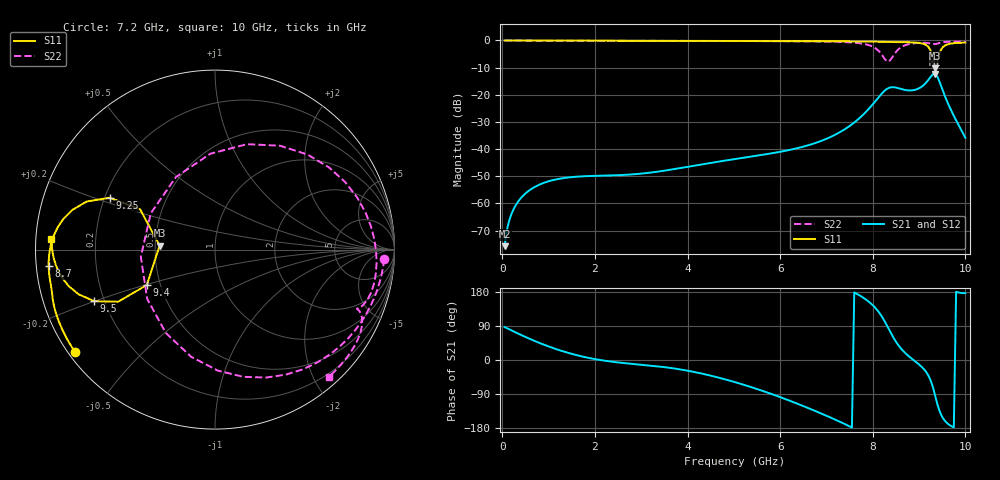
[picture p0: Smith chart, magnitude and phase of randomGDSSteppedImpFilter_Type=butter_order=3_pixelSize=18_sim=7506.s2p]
! freq	dB(S11)	phase(S11)	dB(S12)	phase(S12)
!  dB(S21)	phase(S21)	dB(S22)	phase(S22)
!S-par simulation data
#  GHz  S  DB  R 50
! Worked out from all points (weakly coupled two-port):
!   200 points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, 50 MHz to 10 GHz, reference 50 ohm
!   highest |S21| = -12.33 dB at 9.35 GHz (marker M1); lowest = -75.7 dB at 50 MHz (marker M2)
!   lowest |S11| = -10.2 dB at 9.35 GHz (marker M3), VSWR 1.90, Z = 26.4 + j1.32 ohm
!   |S11| at or under -10 dB: 9.347437 GHz to 9.353364 GHz (5.927 MHz wide, 0.0634 % of centre)
!   |S22| runs from -7.7 to 0.0 dB; largest |S21 - S12| = 0
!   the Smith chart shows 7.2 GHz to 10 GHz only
!   S11 on the Smith chart (normalised r, x): 7.2 GHz: 0.02, -0.33; 8.7 GHz: 0.04, -0.05; 9.25 GHz: 0.22, +0.22; 9.4 GHz: 0.42, -0.20; 9.5 GHz: 0.16, -0.20; 10 GHz: 0.05, +0.03
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0.05  -0.00 -1.1  -75.71 87.0  -75.71 87.0  -0.00 -4.9
0.2  -0.01 -4.5  -63.77 78.0  -63.77 78.0  -0.03 -19.5
0.5  -0.01 -11.2  -56.32 60.8  -56.32 60.8  -0.06 -47.4
1.05  -0.03 -23.5  -51.59 33.5  -51.59 33.5  -0.10 -92.5
1.75  -0.05 -38.8  -49.99 8.6  -49.99 8.6  -0.12 -137.4
2.5  -0.07 -54.7  -49.59 -6.5  -49.59 -6.5  -0.14 -175.0
3.4  -0.09 -73.0  -48.18 -17.3  -48.18 -17.3  -0.15 147.1
5.05  -0.16 -104.6  -43.58 -59.3  -43.58 -59.3  -0.21 83.9
6.7  -0.26 -134.5  -38.09 -131.6  -38.09 -131.6  -0.34 19.4
7.2  -0.30 -143.6  -34.59 -157.9  -34.59 -157.9  -0.49 -3.2
7.7  -0.36 -153.0  -28.79 171.6  -28.79 171.6  -1.00 -33.9
8.05  -0.43 -160.0  -22.49 138.3  -22.49 138.3  -2.78 -77.4
8.2  -0.49 -163.1  -19.45 114.0  -19.45 114.0  -5.36 -120.5
8.35  -0.56 -166.1  -17.44 80.9  -17.44 80.9  -7.72 150.6
8.5  -0.59 -169.2  -17.34 48.4  -17.34 48.4  -4.24 73.2
8.7  -0.62 -174.2  -18.23 18.5  -18.23 18.5  -1.75 27.3
9.05  -1.06 171.9  -17.08 -17.4  -17.08 -17.4  -0.86 -8.5
9.25  -3.69 153.8  -13.39 -53.9  -13.39 -53.9  -1.12 -20.8
9.35  -10.19 175.8  -12.33 -95.4  -12.33 -95.4  -1.35 -22.6
9.4  -7.37 -152.5  -13.49 -118.8  -13.49 -118.8  -1.15 -23.1
9.5  -2.71 -156.9  -17.87 -150.4  -17.87 -150.4  -0.70 -27.3
10  -0.78 176.4  -35.84 176.4  -35.84 176.4  -0.44 -48.2
